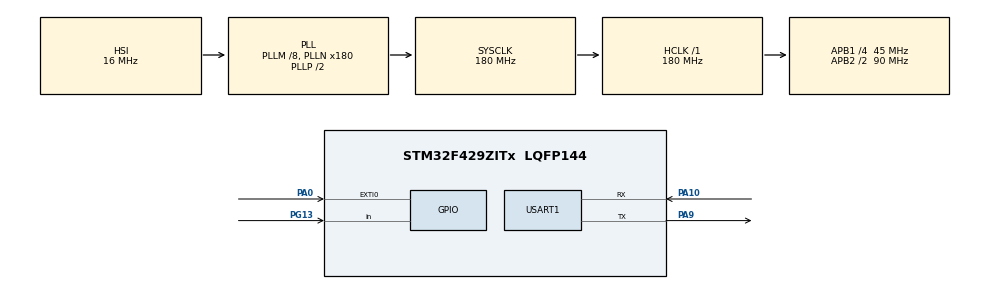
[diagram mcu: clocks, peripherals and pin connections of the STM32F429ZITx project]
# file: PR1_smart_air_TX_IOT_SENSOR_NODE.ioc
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FREERTOS.BinarySemaphores01=myBinarySem01,Dynamic,NULL,Available
FREERTOS.Mutexes01=myMutex01,Dynamic,NULL,Available
FREERTOS.Tasks01=defaultTask,0,128,StartDefaultTask,Default,NULL,Dynamic,NULL,NULL
FREERTOS.Timers01=myTimer01,Callback01,osTimerPeriodic,Default,NULL,Dynamic,NULL
FREERTOS.configUSE_TIMERS=1
Mcu.Family=STM32F4
Mcu.Name=STM32F429ZITx
Mcu.Package=LQFP144
NVIC.EXTI0_IRQn=true\:5\:0\:false\:false\:true\:true\:true\:true\:true
NVIC.PriorityGroup=NVIC_PRIORITYGROUP_4
NVIC.TIM1_UP_TIM10_IRQn=true\:15\:0\:false\:false\:true\:false\:false\:true\:true
NVIC.TimeBase=TIM1_UP_TIM10_IRQn
NVIC.TimeBaseIP=TIM1
NVIC.USART1_IRQn=true\:5\:0\:false\:false\:true\:true\:true\:true\:true
PA0/WKUP.GPIO_ModeDefaultEXTI=GPIO_MODE_IT_RISING
PA0/WKUP.GPIO_PuPd=GPIO_PULLDOWN
PA0/WKUP.Signal=GPXTI0
PA10.Mode=Asynchronous
PA10.Signal=USART1_RX
PA9.Mode=Asynchronous
PA9.Signal=USART1_TX
PG13.Signal=GPIO_Input
ProjectManager.HeapSize=0x200
ProjectManager.StackSize=0x400
ProjectManager.TargetToolchain=STM32CubeIDE
RCC.48MHZClocksFreq_Value=90000000
RCC.AHBFreq_Value=180000000
RCC.APB1CLKDivider=RCC_HCLK_DIV4
RCC.APB1Freq_Value=45000000
RCC.APB1TimFreq_Value=90000000
RCC.APB2CLKDivider=RCC_HCLK_DIV2
RCC.APB2Freq_Value=90000000
RCC.APB2TimFreq_Value=180000000
RCC.CortexFreq_Value=180000000
RCC.HCLKFreq_Value=180000000
RCC.HSE_VALUE=25000000
RCC.HSI_VALUE=16000000
RCC.LSE_VALUE=32768
RCC.PLLM=8
RCC.PLLN=180
RCC.SYSCLKFreq_VALUE=180000000
RCC.SYSCLKSource=RCC_SYSCLKSOURCE_PLLCLK
RCC.VCOOutputFreq_Value=360000000
USART1.VirtualMode=VM_ASYNC
VP_FREERTOS_VS_CMSIS_V1.Mode=CMSIS_V1
VP_SYS_VS_tim1.Mode=TIM1
board=custom

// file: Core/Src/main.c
/* USER CODE BEGIN Header */
/**
  ******************************************************************************
  * @file           : main.c
  * @brief          : Main program body
  ******************************************************************************
  * @attention
  *
  * Copyright (c) 2026 STMicroelectronics.
  * All rights reserved.
  *
  * This software is licensed under terms that can be found in the LICENSE file
  * in the root directory of this software component.
  * If no LICENSE file comes with this software, it is provided AS-IS.
  *
  ******************************************************************************
  */
/* USER CODE END Header */
#include "main.h"
#include "cmsis_os.h"

/* USER CODE BEGIN Includes */
#include "dht11.h"
#include<stdio.h>

/* USER CODE END Includes */

UART_HandleTypeDef huart1;

//osThreadId defaultTaskHandle;
//osTimerId myTimer01Handle;
//osMutexId myMutex01Handle;
//osSemaphoreId myBinarySem01Handle;
/* USER CODE BEGIN PV */
DHT11_Data_t data;
/* USER CODE END PV */

void SystemClock_Config(void);
static void MX_GPIO_Init(void);
static void MX_USART1_UART_Init(void);
//void StartDefaultTask(void const * argument);
//void Callback01(void const * argument);

/* USER CODE BEGIN PFP */
void SenderTask(void* arg);
void ReceiverTask(void * arg);
void TimerTask(TimerHandle_t TimerHandle);
QueueHandle_t QueueHandle;
SemaphoreHandle_t Timer_sem;
TimerHandle_t TimerHandle;
SemaphoreHandle_t UART_Mutex;
/* USER CODE END PFP */

/* USER CODE BEGIN 0 */
int _write(int file,char *ptr,int len)//to display
{
	HAL_UART_Transmit(&huart1,(uint8_t*)ptr,(uint16_t)len,HAL_MAX_DELAY);
	return len;
}
/* USER CODE END 0 */

int main(void)
{

  /* MCU Configuration--------------------------------------------------------*/

  /* Reset of all peripherals, Initializes the Flash interface and the Systick. */
  HAL_Init();

  /* Configure the system clock */
  SystemClock_Config();

  /* USER CODE BEGIN SysInit */
  DWT_Delay_Init();
  /* USER CODE END SysInit */

  /* Initialize all configured peripherals */
  MX_GPIO_Init();
  MX_USART1_UART_Init();
  /* USER CODE BEGIN 2 */

  TaskHandle_t SenderTaskHandle,ReceiverTaskHandle;
  QueueHandle=xQueueCreate(5,sizeof(uint8_t));

  UART_Mutex=xSemaphoreCreateMutex();

  xTaskCreate(SenderTask, "SenderTask", 128, NULL, 1, &SenderTaskHandle);
  xTaskCreate(ReceiverTask, "ReceiverTask", 128, NULL, 1, &ReceiverTaskHandle);

  Timer_sem=xSemaphoreCreateBinary();
  TimerHandle=xTimerCreate("TimerTask", pdMS_TO_TICKS(3000), pdTRUE, 0,TimerTask);
  xTimerStart(TimerHandle,0);

  vTaskStartScheduler();

  /* USER CODE END 2 */

  /* Create the mutex(es) */

  /* definition and creation of myMutex01 */
//  osMutexDef(myMutex01);
//  myMutex01Handle = osMutexCreate(osMutex(myMutex01));

  /* Create the semaphores(s) */

/* definition and creation of myBinarySem01 */
//  osSemaphoreDef(myBinarySem01);
//  myBinarySem01Handle = osSemaphoreCreate(osSemaphore(myBinarySem01), 1);

  /* Create the timer(s) */

  /* definition and creation of myTimer01 */
//  osTimerDef(myTimer01, Callback01);
//  myTimer01Handle = osTimerCreate(osTimer(myTimer01), osTimerPeriodic, NULL);

  /* Create the thread(s) */
  /* definition and creation of defaultTask */
//  osThreadDef(defaultTask, StartDefaultTask, osPriorityNormal, 0, 128);
//  defaultTaskHandle = osThreadCreate(osThread(defaultTask), NULL);

  /* Start scheduler */
  //osKernelStart();

  /* We should never get here as control is now taken by the scheduler */

  /* Infinite loop */
  while (1)
  {

  }
}

void SystemClock_Config(void)
{
  RCC_OscInitTypeDef RCC_OscInitStruct = {0};
  RCC_ClkInitTypeDef RCC_ClkInitStruct = {0};

  /** Configure the main internal regulator output voltage
  */
  __HAL_RCC_PWR_CLK_ENABLE();
  __HAL_PWR_VOLTAGESCALING_CONFIG(PWR_REGULATOR_VOLTAGE_SCALE1);

  /** Initializes the RCC Oscillators according to the specified parameters
  * in the RCC_OscInitTypeDef structure.
  */
  RCC_OscInitStruct.OscillatorType = RCC_OSCILLATORTYPE_HSI;
  RCC_OscInitStruct.HSIState = RCC_HSI_ON;
  RCC_OscInitStruct.HSICalibrationValue = RCC_HSICALIBRATION_DEFAULT;
  RCC_OscInitStruct.PLL.PLLState = RCC_PLL_ON;
  RCC_OscInitStruct.PLL.PLLSource = RCC_PLLSOURCE_HSI;
  RCC_OscInitStruct.PLL.PLLM = 8;
  RCC_OscInitStruct.PLL.PLLN = 180;
  RCC_OscInitStruct.PLL.PLLP = RCC_PLLP_DIV2;
  RCC_OscInitStruct.PLL.PLLQ = 4;
  if (HAL_RCC_OscConfig(&RCC_OscInitStruct) != HAL_OK)
  {
    Error_Handler();
  }

  /** Activate the Over-Drive mode
  */
  if (HAL_PWREx_EnableOverDrive() != HAL_OK)
  {
    Error_Handler();
  }

  /** Initializes the CPU, AHB and APB buses clocks
  */
  RCC_ClkInitStruct.ClockType = RCC_CLOCKTYPE_HCLK|RCC_CLOCKTYPE_SYSCLK
                              |RCC_CLOCKTYPE_PCLK1|RCC_CLOCKTYPE_PCLK2;
  RCC_ClkInitStruct.SYSCLKSource = RCC_SYSCLKSOURCE_PLLCLK;
  RCC_ClkInitStruct.AHBCLKDivider = RCC_SYSCLK_DIV1;
  RCC_ClkInitStruct.APB1CLKDivider = RCC_HCLK_DIV4;
  RCC_ClkInitStruct.APB2CLKDivider = RCC_HCLK_DIV2;

  if (HAL_RCC_ClockConfig(&RCC_ClkInitStruct, FLASH_LATENCY_5) != HAL_OK)
  {
    Error_Handler();
  }
}

static void MX_USART1_UART_Init(void)
{

  huart1.Instance = USART1;
  huart1.Init.BaudRate = 115200;
  huart1.Init.WordLength = UART_WORDLENGTH_8B;
  huart1.Init.StopBits = UART_STOPBITS_1;
  huart1.Init.Parity = UART_PARITY_NONE;
  huart1.Init.Mode = UART_MODE_TX_RX;
  huart1.Init.HwFlowCtl = UART_HWCONTROL_NONE;
  huart1.Init.OverSampling = UART_OVERSAMPLING_16;
  if (HAL_UART_Init(&huart1) != HAL_OK)
  {
    Error_Handler();
  }

}

static void MX_GPIO_Init(void)
{
  GPIO_InitTypeDef GPIO_InitStruct = {0};

  /* GPIO Ports Clock Enable */
  __HAL_RCC_GPIOA_CLK_ENABLE();
  __HAL_RCC_GPIOG_CLK_ENABLE();

  /*Configure GPIO pin : PA0 */
  GPIO_InitStruct.Pin = GPIO_PIN_0;
  GPIO_InitStruct.Mode = GPIO_MODE_IT_RISING;
  GPIO_InitStruct.Pull = GPIO_PULLDOWN;
  HAL_GPIO_Init(GPIOA, &GPIO_InitStruct);

  /*Configure GPIO pin : PG13 */
  GPIO_InitStruct.Pin = GPIO_PIN_13;
  GPIO_InitStruct.Mode = GPIO_MODE_INPUT;
  GPIO_InitStruct.Pull = GPIO_NOPULL;
  HAL_GPIO_Init(GPIOG, &GPIO_InitStruct);

  /* EXTI interrupt init*/
  HAL_NVIC_SetPriority(EXTI0_IRQn, 5, 0);
  HAL_NVIC_EnableIRQ(EXTI0_IRQn);

}

/* USER CODE BEGIN 4 */
void SenderTask(void *arg)
{

		for(;;)
		{
			Read_Temp_Hum(&data);
			xSemaphoreTake(Timer_sem,portMAX_DELAY);
			xQueueSend(QueueHandle,&data.temperature,portMAX_DELAY);
			xQueueSend(QueueHandle,&data.humidity,portMAX_DELAY);

		}
}
void ReceiverTask(void *arg)
{
	uint8_t temp_buf;
	uint8_t hum_buf;
		for(;;){
			xQueueReceive(QueueHandle,&temp_buf, portMAX_DELAY);

			xQueueReceive(QueueHandle,&hum_buf,portMAX_DELAY);
			xSemaphoreTake(UART_Mutex,portMAX_DELAY);

			printf("Temperature-> %d\tHumidity-> %d\r\n",temp_buf,hum_buf);
			xSemaphoreGive(UART_Mutex);
		}
}
void TimerTask(TimerHandle_t TimerHandle)
{
	xSemaphoreGive(Timer_sem);

}

/* USER CODE END 4 */

//void StartDefaultTask(void const * argument)
//{
//  /* USER CODE BEGIN 5 */
////  /* Infinite loop */
////  for(;;)
////  {
////    osDelay(1);
////  }
//  /* USER CODE END 5 */
//}

/* Callback01 function */
void Callback01(void const * argument)
{
}

void HAL_TIM_PeriodElapsedCallback(TIM_HandleTypeDef *htim)
{
  if (htim->Instance == TIM1)
  {
    HAL_IncTick();
  }
}

void Error_Handler(void)
{
  __disable_irq();
  while (1)
  {
  }
}
